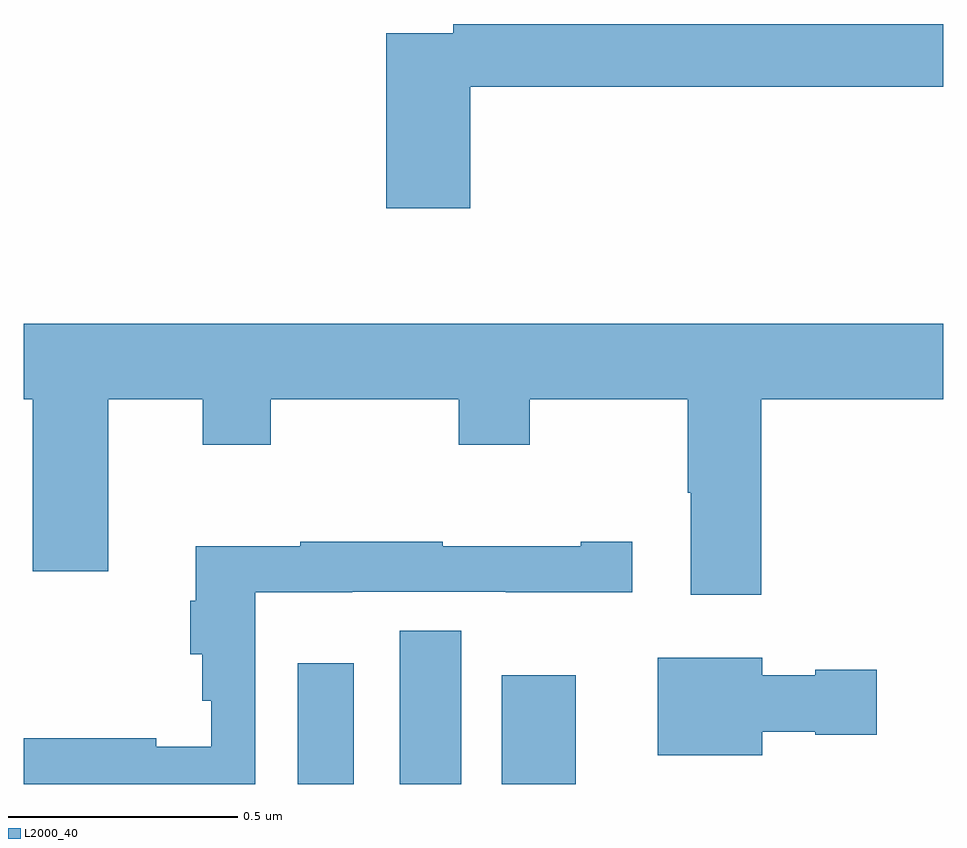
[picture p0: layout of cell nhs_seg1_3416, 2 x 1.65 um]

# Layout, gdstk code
import gdstk
lib = gdstk.Library(unit=1e-6, precision=1e-09)
def R(c, l, rs):  # rectangles x0, y0, x1, y1
    for r in rs: c.add(gdstk.rectangle(r[:2], r[2:], *l))
def P(c, l, *ps):  # polygons
    for p in ps: c.add(gdstk.Polygon(p, *l))
L2000_40 = (2000, 40)

nhs_seg1_3416 = lib.new_cell('nhs_seg1_3416')
R(nhs_seg1_3416, L2000_40, [(153.596,580.199,153.718,580.462), (153.818,580.199,153.952,580.532), (154.04,580.199,154.201,580.435)])
P(nhs_seg1_3416, L2000_40, [(153.971,581.716),(155,581.716),(155,581.852),(153.934,581.852),(153.934,581.832),(153.788,581.832),(153.788,581.451),(153.971,581.451)],
  [(153,581.036),(153.02,581.036),(153.02,580.662),(153.184,580.662),(153.184,581.036),(153.389,581.036),(153.389,580.937),(153.537,580.937),(153.537,581.036),(153.946,581.036),(153.946,580.937),(154.101,580.937),(154.101,581.036),(154.444,581.036),(154.444,580.832),(154.451,580.832),(154.451,580.611),(154.604,580.611),(154.604,581.036),(155,581.036),(155,581.2),(153,581.2)],
  [(153.504,580.616),(153.714,580.616),(153.714,580.617),(154.048,580.617),(154.048,580.616),(154.324,580.616),(154.324,580.726),(154.211,580.726),(154.211,580.716),(153.911,580.716),(153.911,580.726),(153.601,580.726),(153.601,580.716),(153.374,580.716),(153.374,580.598),(153.362,580.598),(153.362,580.481),(153.388,580.481),(153.388,580.38),(153.408,580.38),(153.408,580.28),(153.288,580.28),(153.288,580.299),(153,580.299),(153,580.199),(153.504,580.199)],
  [(154.606,580.313),(154.722,580.313),(154.722,580.306),(154.855,580.306),(154.855,580.448),(154.722,580.448),(154.722,580.435),(154.606,580.435),(154.606,580.474),(154.379,580.474),(154.379,580.262),(154.606,580.262)])

lib.write_gds('nhs_seg1_3416.gds')
